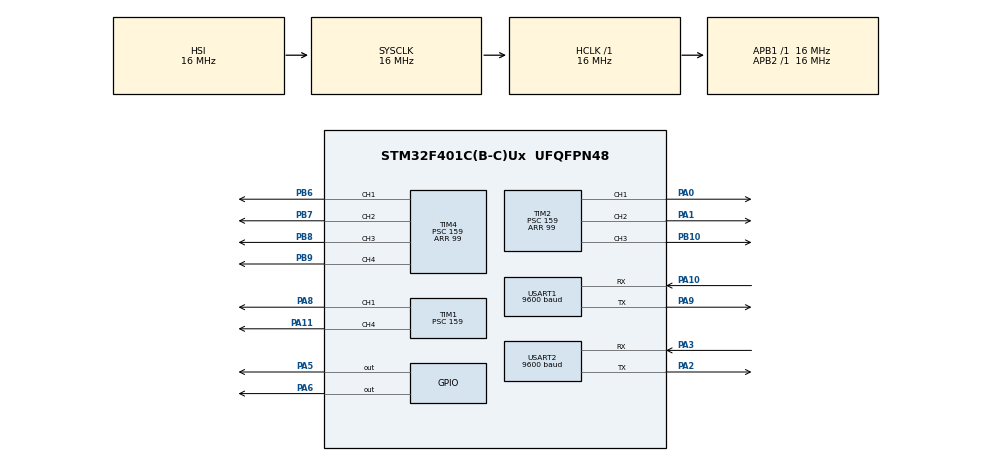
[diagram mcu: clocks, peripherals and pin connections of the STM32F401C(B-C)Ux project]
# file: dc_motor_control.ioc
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Dma.Request0=USART1_RX
Dma.Request1=USART1_TX
Dma.Request2=USART2_RX
Dma.Request3=USART2_TX
Dma.USART1_RX.0.Direction=DMA_PERIPH_TO_MEMORY
Dma.USART1_RX.0.FIFOMode=DMA_FIFOMODE_DISABLE
Dma.USART1_RX.0.Instance=DMA2_Stream2
Dma.USART1_RX.0.MemDataAlignment=DMA_MDATAALIGN_BYTE
Dma.USART1_RX.0.MemInc=DMA_MINC_ENABLE
Dma.USART1_RX.0.Mode=DMA_NORMAL
Dma.USART1_RX.0.PeriphDataAlignment=DMA_PDATAALIGN_BYTE
Dma.USART1_RX.0.PeriphInc=DMA_PINC_DISABLE
Dma.USART1_RX.0.Priority=DMA_PRIORITY_LOW
Dma.USART1_TX.1.Direction=DMA_MEMORY_TO_PERIPH
Dma.USART1_TX.1.FIFOMode=DMA_FIFOMODE_DISABLE
Dma.USART1_TX.1.Instance=DMA2_Stream7
Dma.USART1_TX.1.MemDataAlignment=DMA_MDATAALIGN_BYTE
Dma.USART1_TX.1.MemInc=DMA_MINC_ENABLE
Dma.USART1_TX.1.Mode=DMA_NORMAL
Dma.USART1_TX.1.PeriphDataAlignment=DMA_PDATAALIGN_BYTE
Dma.USART1_TX.1.PeriphInc=DMA_PINC_DISABLE
Dma.USART1_TX.1.Priority=DMA_PRIORITY_LOW
Dma.USART2_RX.2.Direction=DMA_PERIPH_TO_MEMORY
Dma.USART2_RX.2.FIFOMode=DMA_FIFOMODE_DISABLE
Dma.USART2_RX.2.Instance=DMA1_Stream5
Dma.USART2_RX.2.MemDataAlignment=DMA_MDATAALIGN_BYTE
Dma.USART2_RX.2.MemInc=DMA_MINC_ENABLE
Dma.USART2_RX.2.Mode=DMA_NORMAL
Dma.USART2_RX.2.PeriphDataAlignment=DMA_PDATAALIGN_BYTE
Dma.USART2_RX.2.PeriphInc=DMA_PINC_DISABLE
Dma.USART2_RX.2.Priority=DMA_PRIORITY_LOW
Dma.USART2_TX.3.Direction=DMA_MEMORY_TO_PERIPH
Dma.USART2_TX.3.FIFOMode=DMA_FIFOMODE_DISABLE
Dma.USART2_TX.3.Instance=DMA1_Stream6
Dma.USART2_TX.3.MemDataAlignment=DMA_MDATAALIGN_BYTE
Dma.USART2_TX.3.MemInc=DMA_MINC_ENABLE
Dma.USART2_TX.3.Mode=DMA_NORMAL
Dma.USART2_TX.3.PeriphDataAlignment=DMA_PDATAALIGN_BYTE
Dma.USART2_TX.3.PeriphInc=DMA_PINC_DISABLE
Dma.USART2_TX.3.Priority=DMA_PRIORITY_LOW
Mcu.Family=STM32F4
Mcu.Name=STM32F401C(B-C)Ux
Mcu.Package=UFQFPN48
NVIC.DMA1_Stream5_IRQn=true\:0\:0\:false\:false\:true\:false\:true\:true
NVIC.DMA1_Stream6_IRQn=true\:0\:0\:false\:false\:true\:false\:true\:true
NVIC.DMA2_Stream2_IRQn=true\:0\:0\:false\:false\:true\:false\:true\:true
NVIC.DMA2_Stream7_IRQn=true\:0\:0\:false\:false\:true\:false\:true\:true
NVIC.PriorityGroup=NVIC_PRIORITYGROUP_4
NVIC.TIM3_IRQn=true\:0\:0\:false\:false\:true\:true\:true\:true
NVIC.USART1_IRQn=true\:0\:0\:false\:false\:true\:true\:true\:true
NVIC.USART2_IRQn=true\:0\:0\:false\:false\:true\:true\:true\:true
PA0-WKUP.Signal=S_TIM2_CH1_ETR
PA1.Signal=S_TIM2_CH2
PA10.Mode=Asynchronous
PA10.Signal=USART1_RX
PA11.Signal=S_TIM1_CH4
PA13.Mode=Serial_Wire
PA13.Signal=SYS_JTMS-SWDIO
PA14.Mode=Serial_Wire
PA14.Signal=SYS_JTCK-SWCLK
PA2.Mode=Asynchronous
PA2.Signal=USART2_TX
PA3.Mode=Asynchronous
PA3.Signal=USART2_RX
PA5.Signal=GPIO_Output
PA6.Signal=GPIO_Output
PA8.Signal=S_TIM1_CH1
PA9.Mode=Asynchronous
PA9.Signal=USART1_TX
PB10.Signal=S_TIM2_CH3
PB6.Signal=S_TIM4_CH1
PB7.Signal=S_TIM4_CH2
PB8.Signal=S_TIM4_CH3
PB9.Signal=S_TIM4_CH4
ProjectManager.HeapSize=0x200
ProjectManager.StackSize=0x400
ProjectManager.TargetToolchain=STM32CubeIDE
RCC.AHBFreq_Value=16000000
RCC.APB1Freq_Value=16000000
RCC.APB2Freq_Value=16000000
RCC.CortexFreq_Value=16000000
RCC.HSE_VALUE=25000000
RCC.HSI_VALUE=16000000
RCC.LSE_VALUE=32768
RCC.SYSCLKFreq_VALUE=16000000
RCC.VCOOutputFreq_Value=192000000
SH.S_TIM1_CH1.0=TIM1_CH1,PWM Generation1 CH1
SH.S_TIM1_CH4.0=TIM1_CH4,PWM Generation4 CH4
SH.S_TIM2_CH1_ETR.0=TIM2_CH1,PWM Generation1 CH1
SH.S_TIM2_CH2.0=TIM2_CH2,PWM Generation2 CH2
SH.S_TIM2_CH3.0=TIM2_CH3,PWM Generation3 CH3
SH.S_TIM4_CH1.0=TIM4_CH1,PWM Generation1 CH1
SH.S_TIM4_CH2.0=TIM4_CH2,PWM Generation2 CH2
SH.S_TIM4_CH3.0=TIM4_CH3,PWM Generation3 CH3
SH.S_TIM4_CH4.0=TIM4_CH4,PWM Generation4 CH4
TIM1.AutoReloadPreload=TIM_AUTORELOAD_PRELOAD_ENABLE
TIM1.Channel-PWM\ Generation1\ CH1=TIM_CHANNEL_1
TIM1.Channel-PWM\ Generation4\ CH4=TIM_CHANNEL_4
TIM1.Period=99
TIM1.Prescaler=159
TIM2.AutoReloadPreload=TIM_AUTORELOAD_PRELOAD_ENABLE
TIM2.Channel-PWM\ Generation1\ CH1=TIM_CHANNEL_1
TIM2.Channel-PWM\ Generation2\ CH2=TIM_CHANNEL_2
TIM2.Channel-PWM\ Generation3\ CH3=TIM_CHANNEL_3
TIM2.Period=99
TIM2.Prescaler=159
TIM3.Period=9999
TIM3.Prescaler=1599
TIM4.AutoReloadPreload=TIM_AUTORELOAD_PRELOAD_ENABLE
TIM4.Channel-PWM\ Generation1\ CH1=TIM_CHANNEL_1
TIM4.Channel-PWM\ Generation2\ CH2=TIM_CHANNEL_2
TIM4.Channel-PWM\ Generation3\ CH3=TIM_CHANNEL_3
TIM4.Channel-PWM\ Generation4\ CH4=TIM_CHANNEL_4
TIM4.Period=99
TIM4.Prescaler=159
USART1.BaudRate=9600
USART1.VirtualMode=VM_ASYNC
USART2.BaudRate=9600
USART2.VirtualMode=VM_ASYNC
VP_TIM1_VS_ClockSourceINT.Mode=Internal
VP_TIM2_VS_ClockSourceINT.Mode=Internal
VP_TIM3_VS_ClockSourceINT.Mode=Internal
VP_TIM4_VS_ClockSourceINT.Mode=Internal
board=custom

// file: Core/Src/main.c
/* USER CODE BEGIN Header */
/**
 ******************************************************************************
 * @file           : main.c
 * @brief          : Main program body
 ******************************************************************************
 * @attention
 *
 * <h2><center>&copy; Copyright (c) 2023 STMicroelectronics.
 * All rights reserved.</center></h2>
 *
 * This software component is licensed by ST under BSD 3-Clause license,
 * the "License"; You may not use this file except in compliance with the
 * License. You may obtain a copy of the License at:
 *                        opensource.org/licenses/BSD-3-Clause
 *
 ******************************************************************************
 */
/* USER CODE END Header */
#include "main.h"

/* USER CODE BEGIN Includes */
#include <stdint.h>
#include <stdio.h>
#include <stdlib.h>
#include "flash.h"
#include "bootloader.h"

/* USER CODE END Includes */

/* USER CODE BEGIN PD */
#define RXBUF_SIZE 8
#define DATA_PWM_SIZE 6
#define DUTY_CYCLE_SIZE 2
#define CLASSIFY_SIZE 1
#define CLASSIFY_PWM_T 50
/* USER CODE END PD */

TIM_HandleTypeDef htim1;
TIM_HandleTypeDef htim2;
TIM_HandleTypeDef htim3;
TIM_HandleTypeDef htim4;

UART_HandleTypeDef huart1;
UART_HandleTypeDef huart2;
DMA_HandleTypeDef hdma_usart1_rx;
DMA_HandleTypeDef hdma_usart1_tx;
DMA_HandleTypeDef hdma_usart2_rx;
DMA_HandleTypeDef hdma_usart2_tx;

/* USER CODE BEGIN PV */
// Define Buffer receive UART
static uint8_t rxbuf[RXBUF_SIZE];
static uint8_t rxbuf_2[RXBUF_SIZE];

// Variable
static uint16_t pwm_t = 0;
static uint8_t state = 0;
static uint8_t classify_state = 0;
static uint8_t interrupt_timer_state = 0;
static uint8_t otherwise_state = 0;
static uint8_t run_classify = 0;
static uint16_t state_change = 0;

static uint8_t pwm_test_1 = 0;
static uint8_t pwm_test_2 = 0;
static uint8_t test_state = 0;

// Define Buffer analyze PWM
static char data_pwm[DATA_PWM_SIZE];
static char duty_cycle_send[DUTY_CYCLE_SIZE];
static char classify_done[CLASSIFY_SIZE];

// Define Enum of Conveyor DC Motor State
typedef enum
{
  STOP_MOTOR_STATE,
  START_MOTOR_STATE,
  MOTOR_LEFT_STATE,
  MOTOR_RIGHT_STATE
} dc_motor_state_t;

// Define Enum of Conveyor DC Motor Status
typedef enum
{
  CONVEYOR_STATUS_OK = 0x00, /*!< Everything OK */
  CONVEYOR_STATUS_ERROR
} conveyor_status_t;

// Define Enum of Classify DC Motor State
typedef enum
{
  ORIGINAL_CLASSIFY_STATE,
  RIGHT_CLASSIFY_STATE,
  LEFT_CLASSIFY_STATE
} classify_state_t;

// Define Enum of Classify Status Running or Stop
typedef enum
{
  STOP_CLASSIFY_STATE,
  START_CLASSIFY_STATE
} running_classify_state_t;

// Define Enum of Conveyor DC Motor Status
typedef enum
{
  CLASSIFY_STATUS_OK = 0x00, /*!< Everything OK */
  CLASSIFY_STATUS_ERROR
} classify_status_t;

// Define Enum UART Transmit Status
typedef enum
{
  UART_TRANSMIT_STATUS_OK = 0x00, /*!< Everything OK */
  UART_TRANSMIT_STATUS_ERROR
} uart_transmit_status_t;

// Define Enum UART Variable Receive Status
typedef enum
{
  UART_VARIABLE_RX_STATUS_OK = 0x00, /*!< Everything OK */
  UART_VARIABLE_RX_STATUS_DONE
} uart_variable_rx_status_t;

// Define Enum Interrupt Timer Status
typedef enum
{
  STOP_INTERRUPT_TIMER_STATUS = 0x00, /*!< Everything OK */
  RUNNING_INTERRUPT_TIMER_STATUS,
  START_INTERRUPT_TIMER_STATUS
} interrupt_timer_status_t;

// Define Enum Check Interrupt Timer Status
typedef enum
{
  START_OTHERWISE_STATUS = 0x00, /*!< Everything OK */
  STOP_OTHERWISE_STATUS
} interrupt_otherwise_status_t;

/* USER CODE END PV */

void SystemClock_Config(void);
static void MX_GPIO_Init(void);
static void MX_DMA_Init(void);
static void MX_TIM1_Init(void);
static void MX_USART1_UART_Init(void);
static void MX_TIM2_Init(void);
static void MX_USART2_UART_Init(void);
static void MX_TIM3_Init(void);
static void MX_TIM4_Init(void);
/* USER CODE BEGIN PFP */
static uart_transmit_status_t uart_transmit();
static conveyor_status_t conveyor_control(uint8_t state, uint8_t pwm_t);
static classify_status_t classify_control(uint8_t state, uint8_t pwm_classify);
/* USER CODE END PFP */

/* USER CODE BEGIN 0 */
void HAL_TIM_PeriodElapsedCallback(TIM_HandleTypeDef *htim)
{
  /* Prevent unused argument(s) compilation warning */
  UNUSED(htim);

  if (interrupt_timer_state == RUNNING_INTERRUPT_TIMER_STATUS)
  {
    if (otherwise_state == START_OTHERWISE_STATUS)
    {
      classify_state = classify_state == LEFT_CLASSIFY_STATE ? RIGHT_CLASSIFY_STATE : LEFT_CLASSIFY_STATE;
      interrupt_timer_state = STOP_INTERRUPT_TIMER_STATUS;
      otherwise_state = STOP_OTHERWISE_STATUS;
      HAL_TIM_Base_Stop_IT(&htim3);
      HAL_UART_Transmit(&huart2, (uint8_t *)"H", 1, 100);
    }
    // else
    // {
    //   run_classify = STOP_CLASSIFY_STATE;
    //   classify_state = ORIGINAL_CLASSIFY_STATE;
    //   interrupt_timer_state = STOP_INTERRUPT_TIMER_STATUS;
    //   otherwise_state = START_OTHERWISE_STATUS;
    //   HAL_TIM_Base_Stop_IT(&htim3);
    //   HAL_UART_Transmit(&huart2, (uint8_t *)"F", 1, 100);
    // }
  }

  /* NOTE : This function should not be modified, when the callback is needed,
            the HAL_TIM_PeriodElapsedCallback could be implemented in the user file
   */
}

void HAL_UARTEx_RxEventCallback(UART_HandleTypeDef *huart, uint16_t Size)
{
  if (huart->Instance == USART1)
  {
    state_change = UART_VARIABLE_RX_STATUS_OK;
    switch (rxbuf[0])
    {
    case 'S':
    {
      state = START_MOTOR_STATE;
      break;
    }
    case 'P':
    {
      state = STOP_MOTOR_STATE;
      break;
    }
    case 'L':
    {
      state = MOTOR_LEFT_STATE;
      for (int b = 1; b <= 2; b++)
      {
        data_pwm[b - 1] = rxbuf[b];
      }
      pwm_t = atoi(data_pwm);
      break;
    }
    case 'R':
    {
      state = MOTOR_RIGHT_STATE;
      for (int b = 1; b <= 2; b++)
      {
        data_pwm[b - 1] = rxbuf[b];
      }
      pwm_t = atoi(data_pwm);
      break;
    }
    }
    /* Clear the rxbuf */
    for (uint8_t i = 0U; i < Size; i++)
    {
      rxbuf[i] = '\0';
    }
    /* start the DMA again */
    HAL_UARTEx_ReceiveToIdle_DMA(&huart1, (uint8_t *) rxbuf, RXBUF_SIZE);
    __HAL_DMA_DISABLE_IT(&hdma_usart1_rx, DMA_IT_HT);
  }

  if (huart->Instance == USART2)
  {
    for (int b = 0; b < Size; b++)
    {
      data_pwm[b] = rxbuf_2[b];
    }

    if (data_pwm[0] == 'S')
    {
      run_classify = STOP_CLASSIFY_STATE;
      classify_state = ORIGINAL_CLASSIFY_STATE;
      interrupt_timer_state = STOP_INTERRUPT_TIMER_STATUS;
      otherwise_state = START_OTHERWISE_STATUS;
      // HAL_TIM_Base_Stop_IT(&htim3);
      HAL_UART_Transmit(&huart2, (uint8_t *)"F", 1, 100);
    }

    if (data_pwm[0] != 'L' && data_pwm[0] != 'R' && data_pwm[0] != 'S')
    {
      state = MOTOR_LEFT_STATE;
      state_change = UART_VARIABLE_RX_STATUS_OK;
      pwm_t = atoi(data_pwm);
    }

    if (data_pwm[0] == 'L' || data_pwm[0] == 'R')
    {
      run_classify = START_CLASSIFY_STATE;
      interrupt_timer_state = START_INTERRUPT_TIMER_STATUS;
      classify_state = data_pwm[0] == 'L' ? LEFT_CLASSIFY_STATE : RIGHT_CLASSIFY_STATE;
    }

    for (uint8_t i = 0U; i < Size; i++)
    {
      data_pwm[i] = '\0';
      rxbuf_2[i] = '\0';
    }
    /* start the DMA again */
    HAL_UARTEx_ReceiveToIdle_DMA(&huart2, (uint8_t *) rxbuf_2, RXBUF_SIZE);
    __HAL_DMA_DISABLE_IT(&hdma_usart2_rx, DMA_IT_HT);
  }
}
/* USER CODE END 0 */

int main(void)
{

  /* MCU Configuration--------------------------------------------------------*/

  /* Reset of all peripherals, Initializes the Flash interface and the Systick. */
  HAL_Init();

  /* Configure the system clock */
  SystemClock_Config();

  /* Initialize all configured peripherals */
  MX_GPIO_Init();
  MX_DMA_Init();
  MX_TIM1_Init();
  MX_USART1_UART_Init();
  MX_TIM2_Init();
  MX_USART2_UART_Init();
  MX_TIM3_Init();
  MX_TIM4_Init();
  /* USER CODE BEGIN 2 */
  HAL_UARTEx_ReceiveToIdle_DMA(&huart1, rxbuf, RXBUF_SIZE);
  __HAL_DMA_DISABLE_IT(&hdma_usart1_rx, DMA_IT_HT);
  HAL_UARTEx_ReceiveToIdle_DMA(&huart2, rxbuf_2, RXBUF_SIZE);
  __HAL_DMA_DISABLE_IT(&hdma_usart2_rx, DMA_IT_HT);
  HAL_TIM_PWM_Start(&htim1, TIM_CHANNEL_1);
  HAL_TIM_PWM_Start(&htim1, TIM_CHANNEL_4);
  HAL_TIM_PWM_Start(&htim2, TIM_CHANNEL_2);
  HAL_TIM_PWM_Start(&htim2, TIM_CHANNEL_1);
  HAL_TIM_PWM_Start(&htim2, TIM_CHANNEL_3);
  HAL_TIM_PWM_Start(&htim4, TIM_CHANNEL_1);
  HAL_TIM_PWM_Start(&htim4, TIM_CHANNEL_2);
  HAL_TIM_PWM_Start(&htim4, TIM_CHANNEL_3);
  HAL_TIM_PWM_Start(&htim4, TIM_CHANNEL_4);
  /* USER CODE END 2 */

  /* Infinite loop */
  while (1)
  {

    /* USER CODE BEGIN 3 */
    if (conveyor_control(state, pwm_t) != CONVEYOR_STATUS_OK)
    {
      Error_Handler();
    }

    if (state_change == UART_TRANSMIT_STATUS_OK)
    {
      if (uart_transmit() != UART_TRANSMIT_STATUS_OK)
      {
        Error_Handler();
      }
      state_change = UART_VARIABLE_RX_STATUS_DONE;
    }

    if (run_classify == START_CLASSIFY_STATE)
    {
      if (interrupt_timer_state == START_INTERRUPT_TIMER_STATUS)
      {
        HAL_TIM_Base_Start_IT(&htim3);
        interrupt_timer_state = RUNNING_INTERRUPT_TIMER_STATUS;
      }
      // run_classify = STOP_CLASSIFY_STATE;
    }

    if (classify_control(classify_state, CLASSIFY_PWM_T) != CLASSIFY_STATUS_OK)
    {
      Error_Handler();
    }

    // if (test_state)
    // {
    //   __HAL_TIM_SET_COMPARE(&htim2, TIM_CHANNEL_1, pwm_test_1);
    //   __HAL_TIM_SET_COMPARE(&htim2, TIM_CHANNEL_3, pwm_test_1);
    //   __HAL_TIM_SET_COMPARE(&htim4, TIM_CHANNEL_1, pwm_test_1);
    //   __HAL_TIM_SET_COMPARE(&htim4, TIM_CHANNEL_2, pwm_test_1);
    //   __HAL_TIM_SET_COMPARE(&htim4, TIM_CHANNEL_3, pwm_test_1);
    //   __HAL_TIM_SET_COMPARE(&htim4, TIM_CHANNEL_4, pwm_test_1);
    //   __HAL_TIM_SET_COMPARE(&htim1, TIM_CHANNEL_4, pwm_test_1);
    //   __HAL_TIM_SET_COMPARE(&htim2, TIM_CHANNEL_2, pwm_test_1);
    // }
  }
  /* USER CODE END 3 */
}

void SystemClock_Config(void)
{
  RCC_OscInitTypeDef RCC_OscInitStruct = { 0 };
  RCC_ClkInitTypeDef RCC_ClkInitStruct = { 0 };

  /** Configure the main internal regulator output voltage
   */
  __HAL_RCC_PWR_CLK_ENABLE();
  __HAL_PWR_VOLTAGESCALING_CONFIG(PWR_REGULATOR_VOLTAGE_SCALE2);
  /** Initializes the RCC Oscillators according to the specified parameters
   * in the RCC_OscInitTypeDef structure.
   */
  RCC_OscInitStruct.OscillatorType = RCC_OSCILLATORTYPE_HSI;
  RCC_OscInitStruct.HSIState = RCC_HSI_ON;
  RCC_OscInitStruct.HSICalibrationValue = RCC_HSICALIBRATION_DEFAULT;
  RCC_OscInitStruct.PLL.PLLState = RCC_PLL_NONE;
  if (HAL_RCC_OscConfig(&RCC_OscInitStruct) != HAL_OK)
  {
    Error_Handler();
  }
  /** Initializes the CPU, AHB and APB buses clocks
   */
  RCC_ClkInitStruct.ClockType =
    RCC_CLOCKTYPE_HCLK | RCC_CLOCKTYPE_SYSCLK | RCC_CLOCKTYPE_PCLK1 | RCC_CLOCKTYPE_PCLK2;
  RCC_ClkInitStruct.SYSCLKSource = RCC_SYSCLKSOURCE_HSI;
  RCC_ClkInitStruct.AHBCLKDivider = RCC_SYSCLK_DIV1;
  RCC_ClkInitStruct.APB1CLKDivider = RCC_HCLK_DIV1;
  RCC_ClkInitStruct.APB2CLKDivider = RCC_HCLK_DIV1;

  if (HAL_RCC_ClockConfig(&RCC_ClkInitStruct, FLASH_LATENCY_0) != HAL_OK)
  {
    Error_Handler();
  }
}

static void MX_TIM1_Init(void)
{

  TIM_ClockConfigTypeDef sClockSourceConfig = { 0 };
  TIM_MasterConfigTypeDef sMasterConfig = { 0 };
  TIM_OC_InitTypeDef sConfigOC = { 0 };
  TIM_BreakDeadTimeConfigTypeDef sBreakDeadTimeConfig = { 0 };

  htim1.Instance = TIM1;
  htim1.Init.Prescaler = 159;
  htim1.Init.CounterMode = TIM_COUNTERMODE_UP;
  htim1.Init.Period = 99;
  htim1.Init.ClockDivision = TIM_CLOCKDIVISION_DIV1;
  htim1.Init.RepetitionCounter = 0;
  htim1.Init.AutoReloadPreload = TIM_AUTORELOAD_PRELOAD_ENABLE;
  if (HAL_TIM_Base_Init(&htim1) != HAL_OK)
  {
    Error_Handler();
  }
  sClockSourceConfig.ClockSource = TIM_CLOCKSOURCE_INTERNAL;
  if (HAL_TIM_ConfigClockSource(&htim1, &sClockSourceConfig) != HAL_OK)
  {
    Error_Handler();
  }
  if (HAL_TIM_PWM_Init(&htim1) != HAL_OK)
  {
    Error_Handler();
  }
  sMasterConfig.MasterOutputTrigger = TIM_TRGO_RESET;
  sMasterConfig.MasterSlaveMode = TIM_MASTERSLAVEMODE_DISABLE;
  if (HAL_TIMEx_MasterConfigSynchronization(&htim1, &sMasterConfig) != HAL_OK)
  {
    Error_Handler();
  }
  sConfigOC.OCMode = TIM_OCMODE_PWM1;
  sConfigOC.Pulse = 0;
  sConfigOC.OCPolarity = TIM_OCPOLARITY_HIGH;
  sConfigOC.OCNPolarity = TIM_OCNPOLARITY_HIGH;
  sConfigOC.OCFastMode = TIM_OCFAST_DISABLE;
  sConfigOC.OCIdleState = TIM_OCIDLESTATE_RESET;
  sConfigOC.OCNIdleState = TIM_OCNIDLESTATE_RESET;
  if (HAL_TIM_PWM_ConfigChannel(&htim1, &sConfigOC, TIM_CHANNEL_1) != HAL_OK)
  {
    Error_Handler();
  }
  if (HAL_TIM_PWM_ConfigChannel(&htim1, &sConfigOC, TIM_CHANNEL_4) != HAL_OK)
  {
    Error_Handler();
  }
  sBreakDeadTimeConfig.OffStateRunMode = TIM_OSSR_DISABLE;
  sBreakDeadTimeConfig.OffStateIDLEMode = TIM_OSSI_DISABLE;
  sBreakDeadTimeConfig.LockLevel = TIM_LOCKLEVEL_OFF;
  sBreakDeadTimeConfig.DeadTime = 0;
  sBreakDeadTimeConfig.BreakState = TIM_BREAK_DISABLE;
  sBreakDeadTimeConfig.BreakPolarity = TIM_BREAKPOLARITY_HIGH;
  sBreakDeadTimeConfig.AutomaticOutput = TIM_AUTOMATICOUTPUT_DISABLE;
  if (HAL_TIMEx_ConfigBreakDeadTime(&htim1, &sBreakDeadTimeConfig) != HAL_OK)
  {
    Error_Handler();
  }
  HAL_TIM_MspPostInit(&htim1);
}

static void MX_TIM2_Init(void)
{

  TIM_ClockConfigTypeDef sClockSourceConfig = { 0 };
  TIM_MasterConfigTypeDef sMasterConfig = { 0 };
  TIM_OC_InitTypeDef sConfigOC = { 0 };

  htim2.Instance = TIM2;
  htim2.Init.Prescaler = 159;
  htim2.Init.CounterMode = TIM_COUNTERMODE_UP;
  htim2.Init.Period = 99;
  htim2.Init.ClockDivision = TIM_CLOCKDIVISION_DIV1;
  htim2.Init.AutoReloadPreload = TIM_AUTORELOAD_PRELOAD_ENABLE;
  if (HAL_TIM_Base_Init(&htim2) != HAL_OK)
  {
    Error_Handler();
  }
  sClockSourceConfig.ClockSource = TIM_CLOCKSOURCE_INTERNAL;
  if (HAL_TIM_ConfigClockSource(&htim2, &sClockSourceConfig) != HAL_OK)
  {
    Error_Handler();
  }
  if (HAL_TIM_PWM_Init(&htim2) != HAL_OK)
  {
    Error_Handler();
  }
  sMasterConfig.MasterOutputTrigger = TIM_TRGO_RESET;
  sMasterConfig.MasterSlaveMode = TIM_MASTERSLAVEMODE_DISABLE;
  if (HAL_TIMEx_MasterConfigSynchronization(&htim2, &sMasterConfig) != HAL_OK)
  {
    Error_Handler();
  }
  sConfigOC.OCMode = TIM_OCMODE_PWM1;
  sConfigOC.Pulse = 0;
  sConfigOC.OCPolarity = TIM_OCPOLARITY_HIGH;
  sConfigOC.OCFastMode = TIM_OCFAST_DISABLE;
  if (HAL_TIM_PWM_ConfigChannel(&htim2, &sConfigOC, TIM_CHANNEL_1) != HAL_OK)
  {
    Error_Handler();
  }
  if (HAL_TIM_PWM_ConfigChannel(&htim2, &sConfigOC, TIM_CHANNEL_2) != HAL_OK)
  {
    Error_Handler();
  }
  if (HAL_TIM_PWM_ConfigChannel(&htim2, &sConfigOC, TIM_CHANNEL_3) != HAL_OK)
  {
    Error_Handler();
  }
  HAL_TIM_MspPostInit(&htim2);
}

static void MX_TIM3_Init(void)
{

  TIM_ClockConfigTypeDef sClockSourceConfig = { 0 };
  TIM_MasterConfigTypeDef sMasterConfig = { 0 };

  htim3.Instance = TIM3;
  htim3.Init.Prescaler = 1599;
  htim3.Init.CounterMode = TIM_COUNTERMODE_UP;
  htim3.Init.Period = 4499;
  htim3.Init.ClockDivision = TIM_CLOCKDIVISION_DIV1;
  htim3.Init.AutoReloadPreload = TIM_AUTORELOAD_PRELOAD_DISABLE;
  if (HAL_TIM_Base_Init(&htim3) != HAL_OK)
  {
    Error_Handler();
  }
  sClockSourceConfig.ClockSource = TIM_CLOCKSOURCE_INTERNAL;
  if (HAL_TIM_ConfigClockSource(&htim3, &sClockSourceConfig) != HAL_OK)
  {
    Error_Handler();
  }
  sMasterConfig.MasterOutputTrigger = TIM_TRGO_RESET;
  sMasterConfig.MasterSlaveMode = TIM_MASTERSLAVEMODE_DISABLE;
  if (HAL_TIMEx_MasterConfigSynchronization(&htim3, &sMasterConfig) != HAL_OK)
  {
    Error_Handler();
  }
}

static void MX_TIM4_Init(void)
{

  TIM_ClockConfigTypeDef sClockSourceConfig = { 0 };
  TIM_MasterConfigTypeDef sMasterConfig = { 0 };
  TIM_OC_InitTypeDef sConfigOC = { 0 };

  htim4.Instance = TIM4;
  htim4.Init.Prescaler = 159;
  htim4.Init.CounterMode = TIM_COUNTERMODE_UP;
  htim4.Init.Period = 99;
  htim4.Init.ClockDivision = TIM_CLOCKDIVISION_DIV1;
  htim4.Init.AutoReloadPreload = TIM_AUTORELOAD_PRELOAD_ENABLE;
  if (HAL_TIM_Base_Init(&htim4) != HAL_OK)
  {
    Error_Handler();
  }
  sClockSourceConfig.ClockSource = TIM_CLOCKSOURCE_INTERNAL;
  if (HAL_TIM_ConfigClockSource(&htim4, &sClockSourceConfig) != HAL_OK)
  {
    Error_Handler();
  }
  if (HAL_TIM_PWM_Init(&htim4) != HAL_OK)
  {
    Error_Handler();
  }
  sMasterConfig.MasterOutputTrigger = TIM_TRGO_RESET;
  sMasterConfig.MasterSlaveMode = TIM_MASTERSLAVEMODE_DISABLE;
  if (HAL_TIMEx_MasterConfigSynchronization(&htim4, &sMasterConfig) != HAL_OK)
  {
    Error_Handler();
  }
  sConfigOC.OCMode = TIM_OCMODE_PWM1;
  sConfigOC.Pulse = 0;
  sConfigOC.OCPolarity = TIM_OCPOLARITY_HIGH;
  sConfigOC.OCFastMode = TIM_OCFAST_DISABLE;
  if (HAL_TIM_PWM_ConfigChannel(&htim4, &sConfigOC, TIM_CHANNEL_1) != HAL_OK)
  {
    Error_Handler();
  }
  if (HAL_TIM_PWM_ConfigChannel(&htim4, &sConfigOC, TIM_CHANNEL_2) != HAL_OK)
  {
    Error_Handler();
  }
  if (HAL_TIM_PWM_ConfigChannel(&htim4, &sConfigOC, TIM_CHANNEL_3) != HAL_OK)
  {
    Error_Handler();
  }
  if (HAL_TIM_PWM_ConfigChannel(&htim4, &sConfigOC, TIM_CHANNEL_4) != HAL_OK)
  {
    Error_Handler();
  }
  HAL_TIM_MspPostInit(&htim4);
}

static void MX_USART1_UART_Init(void)
{

  huart1.Instance = USART1;
  huart1.Init.BaudRate = 9600;
  huart1.Init.WordLength = UART_WORDLENGTH_8B;
  huart1.Init.StopBits = UART_STOPBITS_1;
  huart1.Init.Parity = UART_PARITY_NONE;
  huart1.Init.Mode = UART_MODE_TX_RX;
  huart1.Init.HwFlowCtl = UART_HWCONTROL_NONE;
  huart1.Init.OverSampling = UART_OVERSAMPLING_16;
  if (HAL_UART_Init(&huart1) != HAL_OK)
  {
    Error_Handler();
  }
}

static void MX_USART2_UART_Init(void)
{

  huart2.Instance = USART2;
  huart2.Init.BaudRate = 9600;
  huart2.Init.WordLength = UART_WORDLENGTH_8B;
  huart2.Init.StopBits = UART_STOPBITS_1;
  huart2.Init.Parity = UART_PARITY_NONE;
  huart2.Init.Mode = UART_MODE_TX_RX;
  huart2.Init.HwFlowCtl = UART_HWCONTROL_NONE;
  huart2.Init.OverSampling = UART_OVERSAMPLING_16;
  if (HAL_UART_Init(&huart2) != HAL_OK)
  {
    Error_Handler();
  }
}

static void MX_DMA_Init(void)
{
  /* DMA controller clock enable */
  __HAL_RCC_DMA2_CLK_ENABLE();
  __HAL_RCC_DMA1_CLK_ENABLE();

  /* DMA interrupt init */
  /* DMA1_Stream5_IRQn interrupt configuration */
  HAL_NVIC_SetPriority(DMA1_Stream5_IRQn, 0, 0);
  HAL_NVIC_EnableIRQ(DMA1_Stream5_IRQn);
  /* DMA1_Stream6_IRQn interrupt configuration */
  HAL_NVIC_SetPriority(DMA1_Stream6_IRQn, 0, 0);
  HAL_NVIC_EnableIRQ(DMA1_Stream6_IRQn);
  /* DMA2_Stream2_IRQn interrupt configuration */
  HAL_NVIC_SetPriority(DMA2_Stream2_IRQn, 0, 0);
  HAL_NVIC_EnableIRQ(DMA2_Stream2_IRQn);
  /* DMA2_Stream7_IRQn interrupt configuration */
  HAL_NVIC_SetPriority(DMA2_Stream7_IRQn, 0, 0);
  HAL_NVIC_EnableIRQ(DMA2_Stream7_IRQn);
}

static void MX_GPIO_Init(void)
{
  GPIO_InitTypeDef GPIO_InitStruct = { 0 };

  /* GPIO Ports Clock Enable */
  __HAL_RCC_GPIOA_CLK_ENABLE();
  __HAL_RCC_GPIOB_CLK_ENABLE();

  /*Configure GPIO pin Output Level */
  HAL_GPIO_WritePin(GPIOA, GPIO_PIN_5 | GPIO_PIN_6, GPIO_PIN_RESET);

  /*Configure GPIO pins : PA5 PA6 */
  GPIO_InitStruct.Pin = GPIO_PIN_5 | GPIO_PIN_6;
  GPIO_InitStruct.Mode = GPIO_MODE_OUTPUT_PP;
  GPIO_InitStruct.Pull = GPIO_NOPULL;
  GPIO_InitStruct.Speed = GPIO_SPEED_FREQ_LOW;
  HAL_GPIO_Init(GPIOA, &GPIO_InitStruct);
}

/* USER CODE BEGIN 4 */
static uart_transmit_status_t uart_transmit()
{
  sprintf(duty_cycle_send, "%2d", pwm_t);
  /* Transmit UART of Duty Cycle Polling */
  HAL_UART_Transmit(&huart2, (uint8_t *) duty_cycle_send, sizeof(duty_cycle_send), 100);
  return UART_TRANSMIT_STATUS_OK;
}
static conveyor_status_t conveyor_control(uint8_t state, uint8_t pwm_t)
{
  switch (state)
  {
  case STOP_MOTOR_STATE:
  {
    pwm_t = 0;
    __HAL_TIM_SET_COMPARE(&htim2, TIM_CHANNEL_1, pwm_t);
    __HAL_TIM_SET_COMPARE(&htim4, TIM_CHANNEL_1, pwm_t);
    break;
  }
  case START_MOTOR_STATE:
  {
    pwm_t = 49;
    __HAL_TIM_SET_COMPARE(&htim2, TIM_CHANNEL_1, 0);
    __HAL_TIM_SET_COMPARE(&htim4, TIM_CHANNEL_1, pwm_t);
    break;
  }
  case MOTOR_LEFT_STATE:
  {
    __HAL_TIM_SET_COMPARE(&htim2, TIM_CHANNEL_1, 0);
    __HAL_TIM_SET_COMPARE(&htim4, TIM_CHANNEL_1, pwm_t);
    break;
  }
  case MOTOR_RIGHT_STATE:
  {
    __HAL_TIM_SET_COMPARE(&htim2, TIM_CHANNEL_1, pwm_t);
    __HAL_TIM_SET_COMPARE(&htim4, TIM_CHANNEL_1, 0);
    break;
  }
  }
  return CONVEYOR_STATUS_OK;
}

static classify_status_t classify_control(uint8_t classify_state, uint8_t pwm_classify)
{
  switch (classify_state)
  {
  case ORIGINAL_CLASSIFY_STATE:
  {
    __HAL_TIM_SET_COMPARE(&htim2, TIM_CHANNEL_3, 0);
    __HAL_TIM_SET_COMPARE(&htim4, TIM_CHANNEL_4, 0);
    break;
  }
  case LEFT_CLASSIFY_STATE:
  {
    __HAL_TIM_SET_COMPARE(&htim2, TIM_CHANNEL_3, pwm_classify);
    __HAL_TIM_SET_COMPARE(&htim4, TIM_CHANNEL_4, 0);
    break;
  }
  case RIGHT_CLASSIFY_STATE:
  {
    __HAL_TIM_SET_COMPARE(&htim2, TIM_CHANNEL_3, 0);
    __HAL_TIM_SET_COMPARE(&htim4, TIM_CHANNEL_4, pwm_classify);
    break;
  }
  }
  return CLASSIFY_STATUS_OK;
}
/* USER CODE END 4 */

void Error_Handler(void)
{
  __disable_irq();
  while (1)
  {
  }
}

/************************ (C) COPYRIGHT STMicroelectronics *****END OF FILE****/
